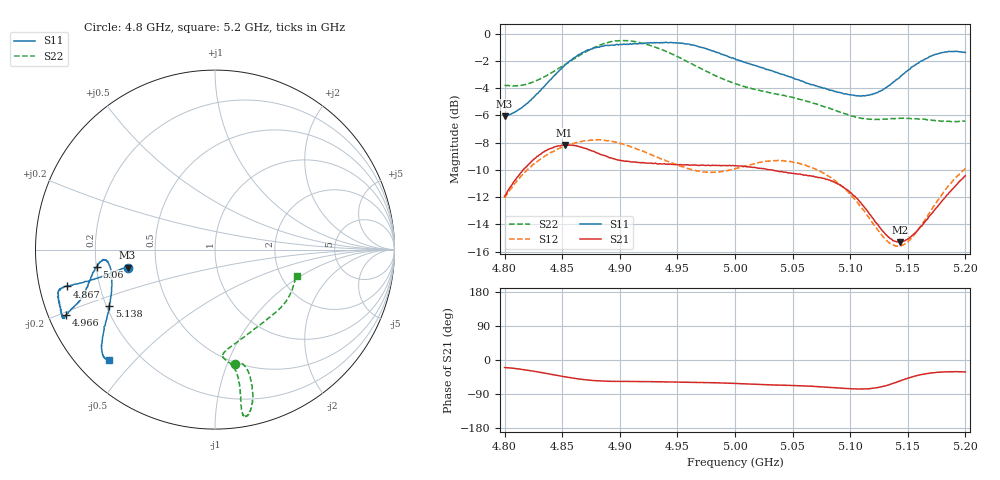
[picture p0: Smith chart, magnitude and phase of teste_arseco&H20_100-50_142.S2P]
! Network Analyzer HP8722D
! Hewlett-Packard
! Data name: Linha & Wilkinson
! Saver's name: Rodrigo Anjos
! Comments: Teste da utilização de aquisição
! continua pelo VNA HP8722D
! Time and date: 6/5/2025 13:45
!  Frequency  S11  S21  S12  S22
# HZ  S  MA R 50
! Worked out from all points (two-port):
!   401 points, 4.8 GHz to 5.2 GHz, reference 50 ohm
!   highest |S21| = -8.16 dB at 4.852 GHz (marker M1); lowest = -15.3 dB at 5.143 GHz (marker M2)
!   |S21| within 3 dB of the highest: 4.806 GHz to 5.092 GHz (286.2 MHz wide, 5.78 % of centre); 5.191486 GHz to end of sweep
!   lowest |S11| = -6.1 dB at 4.8 GHz (marker M3), VSWR 2.98, Z = 16.9 - j4.52 ohm
!   |S11| at or under -10 dB: nowhere
!   |S22| runs from -6.5 to -0.5 dB; largest |S21 - S12| = 0.62
!   S11 on the Smith chart (normalised r, x): 4.8 GHz: 0.34, -0.09; 4.867 GHz: 0.08, -0.12; 4.966 GHz: 0.05, -0.21; 5.06 GHz: 0.20, -0.07; 5.138 GHz: 0.21, -0.24; 5.2 GHz: 0.09, -0.42
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4.8e9  0.4977 -168.4  0.2528 -19.9  0.2495 -141.1  0.6472 -80.3
4.826e9  0.5889 -167.4  0.3479 -29.9  0.3328 -144.8  0.669 -75.7
4.852e9  0.7653 -166.0  0.3907 -44.2  0.3863 -149.7  0.7704 -74.6
4.867e9  0.851 -166.1  0.3828 -51.1  0.4027 -152.2  0.843 -75.5
4.886e9  0.9024 -165.1  0.3579 -55.4  0.4073 -155.4  0.921 -77.8
4.901e9  0.9146 -162.5  0.3425 -56.5  0.3952 -157.0  0.9456 -79.3
4.914e9  0.9198 -159.8  0.3374 -56.6  0.3783 -157.2  0.9362 -80.4
4.934e9  0.9277 -156.7  0.3328 -57.6  0.3502 -155.8  0.882 -80.5
4.966e9  0.9049 -156.3  0.3291 -58.9  0.3142 -148.5  0.7619 -79.6
5e9  0.8104 -159.1  0.3275 -62.0  0.3195 -137.4  0.6559 -81.3
5.036e9  0.7219 -165.8  0.3133 -66.1  0.3417 -134.5  0.6006 -85.7
5.06e9  0.6647 -171.9  0.3022 -68.4  0.3302 -136.4  0.5695 -84.3
5.067e9  0.6507 -173.2  0.2996 -69.4  0.3218 -137.0  0.557 -82.5
5.082e9  0.6208 -174.8  0.2903 -72.1  0.2986 -138.4  0.5327 -77.1
5.103e9  0.5953 -171.5  0.2544 -76.4  0.2492 -138.8  0.4976 -65.2
5.116e9  0.5953 -165.5  0.2201 -76.0  0.2116 -135.6  0.4857 -55.6
5.134e9  0.6472 -154.4  0.1781 -65.3  0.1705 -120.5  0.4876 -43.2
5.138e9  0.6678 -152.0  0.1735 -61.0  0.1669 -115.4  0.4877 -40.8
5.143e9  0.6922 -149.4  0.1717 -55.7  0.1661 -108.8  0.4896 -38.0
5.154e9  0.7579 -144.6  0.1817 -44.3  0.1794 -95.0  0.4884 -32.2
5.172e9  0.8351 -139.2  0.2222 -33.6  0.231 -81.2  0.4805 -24.5
5.2e9  0.8534 -133.8  0.3008 -31.5  0.3197 -77.1  0.4784 -17.6
